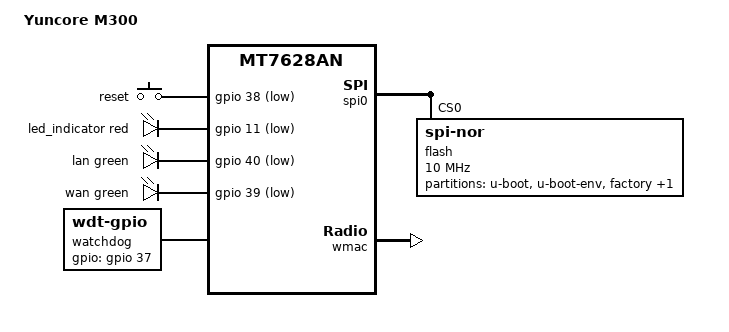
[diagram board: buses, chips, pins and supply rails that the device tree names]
#include "mt7628an.dtsi"

#include <dt-bindings/gpio/gpio.h>
#include <dt-bindings/input/input.h>
#include <dt-bindings/leds/common.h>

/ {
	compatible = "yuncore,m300", "mediatek,mt7628an-soc";
	model = "Yuncore M300";

	chosen {
		bootargs = "console=ttyS0,57600";
	};

	keys {
		compatible = "gpio-keys";

		reset {
			label = "reset";
			gpios = <&gpio 38 GPIO_ACTIVE_LOW>;
			linux,code = <KEY_RESTART>;
		};
	};

	aliases {
		label-mac = &ethernet;
		led-boot = &led_indicator;
		led-failsafe = &led_indicator;
		led-running = &led_indicator;
		led-upgrade = &led_indicator;
	};

	leds {
		compatible = "gpio-leds";

		led_indicator: indicator {
			function = LED_FUNCTION_INDICATOR;
			color = <LED_COLOR_ID_RED>;
			gpios = <&gpio 11 GPIO_ACTIVE_LOW>;
		};

		lan {
			function = LED_FUNCTION_LAN;
			color = <LED_COLOR_ID_GREEN>;
			gpios = <&gpio 40 GPIO_ACTIVE_LOW>;
		};

		wan {
			function = LED_FUNCTION_WAN;
			color = <LED_COLOR_ID_GREEN>;
			gpios = <&gpio 39 GPIO_ACTIVE_LOW>;
		};
	};

	watchdog {
		compatible = "linux,wdt-gpio";
		gpios = <&gpio 37 GPIO_ACTIVE_HIGH>;
		hw_algo = "toggle";
		hw_margin_ms = <20000>;
		always-running;
	};
};

&spi0 {
	status = "okay";

	flash@0 {
		compatible = "jedec,spi-nor";
		reg = <0>;
		spi-max-frequency = <10000000>;

		partitions {
			compatible = "fixed-partitions";
			#address-cells = <1>;
			#size-cells = <1>;

			partition@0 {
				label = "u-boot";
				reg = <0x0 0x30000>;
				read-only;
			};

			partition@30000 {
				label = "u-boot-env";
				reg = <0x30000 0x10000>;
				read-only;
			};

			partition@40000 {
				label = "factory";
				reg = <0x40000 0x10000>;
				read-only;

				nvmem-layout {
					compatible = "fixed-layout";
					#address-cells = <1>;
					#size-cells = <1>;

					eeprom_factory_0: eeprom@0 {
						reg = <0x0 0x400>;
					};

					macaddr_factory_4: macaddr@4 {
						reg = <0x4 0x6>;
					};
				};
			};

			partition@50000 {
				compatible = "denx,uimage";
				label = "firmware";
				reg = <0x50000 0x7b0000>;
			};
		};
	};
};

&ethernet {
	nvmem-cells = <&macaddr_factory_4>;
	nvmem-cell-names = "mac-address";
};

&esw {
	mediatek,portmap = <0x3e>;
};

&wmac {
	status = "okay";

	nvmem-cells = <&eeprom_factory_0>;
	nvmem-cell-names = "eeprom";
};

&state_default {
	gpio {
		groups = "pwm1", "pwm0", "uart2", "uart1", "i2c", "refclk",
			 "perst", "wdt", "sdmode", "i2s", "spi cs1", "spis",
			 "gpio", "p0led_an", "p1led_an", "p2led_an", "p3led_an",
			 "p4led_an", "wled_kn", "p0led_kn", "p1led_kn",
			 "p2led_kn", "p3led_kn", "p4led_kn";
		function = "gpio";
	};

	wlan {
		groups = "wled_an";
		function = "wled_an";
	};
};
